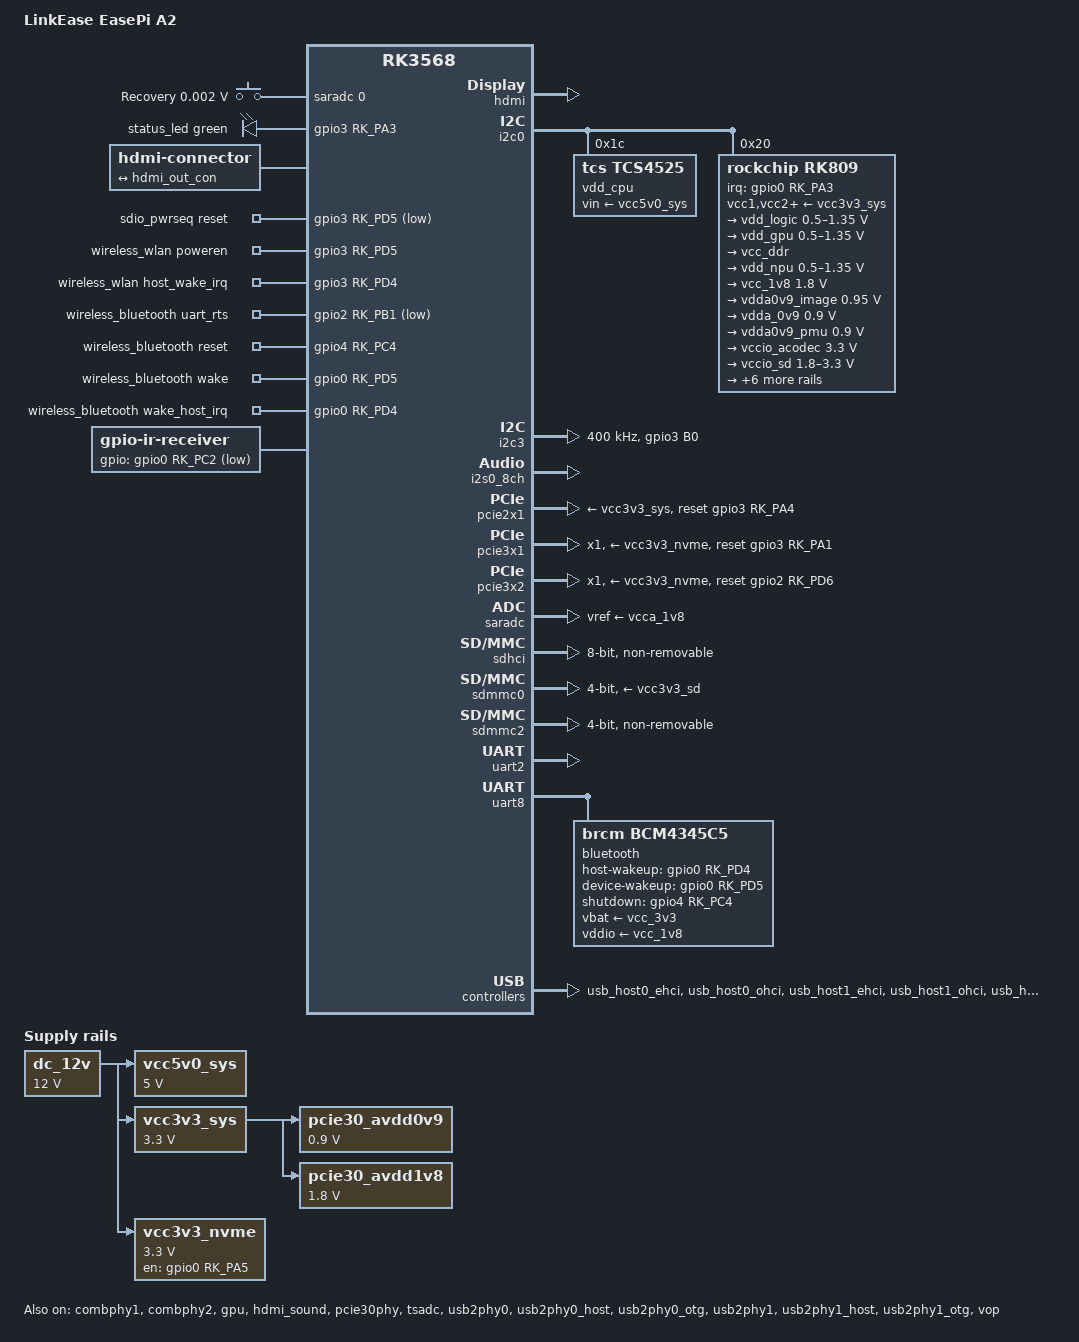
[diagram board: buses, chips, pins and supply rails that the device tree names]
// SPDX-License-Identifier: GPL-2.0-or-later OR MIT

/dts-v1/;

#include <dt-bindings/gpio/gpio.h>
#include <dt-bindings/input/input.h>
#include <dt-bindings/leds/common.h>
#include <dt-bindings/pinctrl/rockchip.h>
#include <dt-bindings/soc/rockchip,vop2.h>
#include "rk3568.dtsi"

/ {
	model = "LinkEase EasePi A2";
	compatible = "linkease,easepi-a2", "rockchip,rk3568";

	aliases {
		ethernet0 = &pcie_eth0;

		mmc0 = &sdmmc0;
		mmc1 = &sdhci;
		mmc2 = &sdmmc2;
	};

	chosen: chosen {
		stdout-path = "serial2:1500000n8";
	};

	adc-keys {
		compatible = "adc-keys";
		io-channels = <&saradc 0>;
		io-channel-names = "buttons";
		keyup-threshold-microvolt = <1800000>;

		button-recovery {
			label = "Recovery";
			linux,code = <KEY_VENDOR>;
			press-threshold-microvolt = <1750>;
		};
	};

	gpio-leds {
		compatible = "gpio-leds";
		pinctrl-names = "default";
		pinctrl-0 = <&status_led_pin>;

		status_led: led-status {
			color = <LED_COLOR_ID_GREEN>;
			function = LED_FUNCTION_STATUS;
			gpios = <&gpio3 RK_PA3 GPIO_ACTIVE_HIGH>;
			linux,default-trigger = "heartbeat";
		};
	};

	hdmi-con {
		compatible = "hdmi-connector";
		type = "a";

		port {
			hdmi_con_in: endpoint {
				remote-endpoint = <&hdmi_out_con>;
			};
		};
	};

	dc_12v: regulator-dc-12v {
		compatible = "regulator-fixed";
		regulator-name = "dc_12v";
		regulator-always-on;
		regulator-boot-on;
		regulator-min-microvolt = <12000000>;
		regulator-max-microvolt = <12000000>;
	};

	vcc5v0_sys: regulator-vcc5v0-sys {
		compatible = "regulator-fixed";
		regulator-name = "vcc5v0_sys";
		regulator-always-on;
		regulator-boot-on;
		regulator-min-microvolt = <5000000>;
		regulator-max-microvolt = <5000000>;
		vin-supply = <&dc_12v>;
	};

	vcc3v3_sys: regulator-vcc3v3-sys {
		compatible = "regulator-fixed";
		regulator-name = "vcc3v3_sys";
		regulator-always-on;
		regulator-boot-on;
		regulator-min-microvolt = <3300000>;
		regulator-max-microvolt = <3300000>;
		vin-supply = <&dc_12v>;
	};

	pcie30_avdd0v9: regulator-pcie30-avdd0v9 {
		compatible = "regulator-fixed";
		regulator-name = "pcie30_avdd0v9";
		regulator-always-on;
		regulator-boot-on;
		regulator-min-microvolt = <900000>;
		regulator-max-microvolt = <900000>;
		vin-supply = <&vcc3v3_sys>;
	};

	pcie30_avdd1v8: regulator-pcie30-avdd1v8 {
		compatible = "regulator-fixed";
		regulator-name = "pcie30_avdd1v8";
		regulator-always-on;
		regulator-boot-on;
		regulator-min-microvolt = <1800000>;
		regulator-max-microvolt = <1800000>;
		vin-supply = <&vcc3v3_sys>;
	};

	sdio_pwrseq: sdio-pwrseq {
		compatible = "mmc-pwrseq-simple";
		clocks = <&rk809 1>;
		clock-names = "ext_clock";
		pinctrl-names = "default";
		pinctrl-0 = <&wifi_enable_h>;

		/*
		* On the module itself this is one of these (depending
		* on the actual card populated):
		* - SDIO_RESET_L_WL_REG_ON
		* - PDN (power down when low)
		*/
		post-power-on-delay-ms = <200>;
		reset-gpios = <&gpio3 RK_PD5 GPIO_ACTIVE_LOW>;
		status = "okay";
	};

	wireless_wlan: wireless-wlan {
		compatible = "wlan-platdata";
		rockchip,grf = <&grf>;
		wifi_chip_type = "ap6255";
		WIFI,poweren_gpio = <&gpio3 RK_PD5 GPIO_ACTIVE_HIGH>;
		status = "okay";
		pinctrl-names = "default";
		pinctrl-0 = <&wifi_host_wake_irq>;
		WIFI,host_wake_irq = <&gpio3 RK_PD4 GPIO_ACTIVE_HIGH>;
	};

	wireless_bluetooth: wireless-bluetooth {
		compatible = "bluetooth-platdata";
		clocks = <&rk809 1>;
		clock-names = "ext_clock";
		//wifi-bt-power-toggle;
		uart_rts_gpios = <&gpio2 RK_PB1 GPIO_ACTIVE_LOW>;
		pinctrl-names = "default", "rts_gpio";
		pinctrl-0 = <&uart8m0_rtsn>;
		pinctrl-1 = <&uart8_gpios>;
		BT,reset_gpio	= <&gpio4 RK_PC4 GPIO_ACTIVE_HIGH>;
		BT,wake_gpio	 = <&gpio0 RK_PD5 GPIO_ACTIVE_HIGH>;
		BT,wake_host_irq = <&gpio0 RK_PD4 GPIO_ACTIVE_HIGH>;
		status = "okay";
	};

	vcc3v3_nvme: regulator-vcc3v3-nvme {
		compatible = "regulator-fixed";
		enable-active-high;
		gpio = <&gpio0 RK_PA5 GPIO_ACTIVE_HIGH>;
		pinctrl-names = "default";
		pinctrl-0 = <&vcc3v3_nvme_en>;
		regulator-name = "vcc3v3_nvme";
		regulator-min-microvolt = <3300000>;
		regulator-max-microvolt = <3300000>;
		vin-supply = <&dc_12v>;
	};

	ir-receiver {
		compatible = "gpio-ir-receiver";
		gpios = <&gpio0 RK_PC2 GPIO_ACTIVE_LOW>;
		pinctrl-names = "default";
		pinctrl-0 = <&ir_receiver_pin>;
	};
};

&combphy1 {
	status = "okay";
};

&combphy2 {
	status = "okay";
};

&cpu0 {
	cpu-supply = <&vdd_cpu>;
};

&cpu1 {
	cpu-supply = <&vdd_cpu>;
};

&cpu2 {
	cpu-supply = <&vdd_cpu>;
};

&cpu3 {
	cpu-supply = <&vdd_cpu>;
};

&gpu {
	mali-supply = <&vdd_gpu>;
	status = "okay";
};

&hdmi {
	avdd-0v9-supply = <&vdda0v9_image>;
	avdd-1v8-supply = <&vcca1v8_image>;
	status = "okay";
};

&hdmi_in {
	hdmi_in_vp0: endpoint {
		remote-endpoint = <&vp0_out_hdmi>;
	};
};

&hdmi_out {
	hdmi_out_con: endpoint {
		remote-endpoint = <&hdmi_con_in>;
	};
};

&hdmi_sound {
	status = "okay";
};

&i2c0 {
	status = "okay";

	vdd_cpu: regulator@1c {
		compatible = "tcs,tcs4525";
		reg = <0x1c>;
		fcs,suspend-voltage-selector = <1>;
		regulator-name = "vdd_cpu";
		regulator-always-on;
		regulator-boot-on;
		regulator-min-microvolt = <800000>;
		regulator-max-microvolt = <1150000>;
		regulator-ramp-delay = <2300>;
		vin-supply = <&vcc5v0_sys>;

		regulator-state-mem {
			regulator-off-in-suspend;
		};
	};

	rk809: pmic@20 {
		compatible = "rockchip,rk809";
		reg = <0x20>;
		interrupt-parent = <&gpio0>;
		interrupts = <RK_PA3 IRQ_TYPE_LEVEL_LOW>;
		#clock-cells = <1>;
		pinctrl-names = "default";
		pinctrl-0 = <&pmic_int>;
		system-power-controller;
		vcc1-supply = <&vcc3v3_sys>;
		vcc2-supply = <&vcc3v3_sys>;
		vcc3-supply = <&vcc3v3_sys>;
		vcc4-supply = <&vcc3v3_sys>;
		vcc5-supply = <&vcc3v3_sys>;
		vcc6-supply = <&vcc3v3_sys>;
		vcc7-supply = <&vcc3v3_sys>;
		vcc8-supply = <&vcc3v3_sys>;
		vcc9-supply = <&vcc3v3_sys>;
		wakeup-source;

		regulators {
			vdd_logic: DCDC_REG1 {
				regulator-name = "vdd_logic";
				regulator-always-on;
				regulator-boot-on;
				regulator-initial-mode = <0x2>;
				regulator-min-microvolt = <500000>;
				regulator-max-microvolt = <1350000>;
				regulator-ramp-delay = <6001>;

				regulator-state-mem {
					regulator-off-in-suspend;
				};
			};

			vdd_gpu: DCDC_REG2 {
				regulator-name = "vdd_gpu";
				regulator-always-on;
				regulator-initial-mode = <0x2>;
				regulator-min-microvolt = <500000>;
				regulator-max-microvolt = <1350000>;
				regulator-ramp-delay = <6001>;

				regulator-state-mem {
					regulator-off-in-suspend;
				};
			};

			vcc_ddr: DCDC_REG3 {
				regulator-name = "vcc_ddr";
				regulator-always-on;
				regulator-boot-on;
				regulator-initial-mode = <0x2>;

				regulator-state-mem {
					regulator-on-in-suspend;
				};
			};

			vdd_npu: DCDC_REG4 {
				regulator-name = "vdd_npu";
				regulator-initial-mode = <0x2>;
				regulator-min-microvolt = <500000>;
				regulator-max-microvolt = <1350000>;
				regulator-ramp-delay = <6001>;

				regulator-state-mem {
					regulator-off-in-suspend;
				};
			};

			vcc_1v8: DCDC_REG5 {
				regulator-name = "vcc_1v8";
				regulator-always-on;
				regulator-boot-on;
				regulator-min-microvolt = <1800000>;
				regulator-max-microvolt = <1800000>;

				regulator-state-mem {
					regulator-off-in-suspend;
				};
			};

			vdda0v9_image: LDO_REG1 {
				regulator-name = "vdda0v9_image";
				regulator-min-microvolt = <950000>;
				regulator-max-microvolt = <950000>;

				regulator-state-mem {
					regulator-off-in-suspend;
				};
			};

			vdda_0v9: LDO_REG2 {
				regulator-name = "vdda_0v9";
				regulator-always-on;
				regulator-boot-on;
				regulator-min-microvolt = <900000>;
				regulator-max-microvolt = <900000>;

				regulator-state-mem {
					regulator-off-in-suspend;
				};
			};

			vdda0v9_pmu: LDO_REG3 {
				regulator-name = "vdda0v9_pmu";
				regulator-always-on;
				regulator-boot-on;
				regulator-min-microvolt = <900000>;
				regulator-max-microvolt = <900000>;

				regulator-state-mem {
					regulator-on-in-suspend;
					regulator-suspend-microvolt = <900000>;
				};
			};

			vccio_acodec: LDO_REG4 {
				regulator-name = "vccio_acodec";
				regulator-min-microvolt = <3300000>;
				regulator-max-microvolt = <3300000>;

				regulator-state-mem {
					regulator-off-in-suspend;
				};
			};

			vccio_sd: LDO_REG5 {
				regulator-name = "vccio_sd";
				regulator-min-microvolt = <1800000>;
				regulator-max-microvolt = <3300000>;

				regulator-state-mem {
					regulator-off-in-suspend;
				};
			};

			vcc3v3_pmu: LDO_REG6 {
				regulator-name = "vcc3v3_pmu";
				regulator-always-on;
				regulator-boot-on;
				regulator-min-microvolt = <3300000>;
				regulator-max-microvolt = <3300000>;

				regulator-state-mem {
					regulator-on-in-suspend;
					regulator-suspend-microvolt = <3300000>;
				};
			};

			vcca_1v8: LDO_REG7 {
				regulator-name = "vcca_1v8";
				regulator-always-on;
				regulator-boot-on;
				regulator-min-microvolt = <1800000>;
				regulator-max-microvolt = <1800000>;

				regulator-state-mem {
					regulator-off-in-suspend;
				};
			};

			vcca1v8_pmu: LDO_REG8 {
				regulator-name = "vcca1v8_pmu";
				regulator-always-on;
				regulator-boot-on;
				regulator-min-microvolt = <1800000>;
				regulator-max-microvolt = <1800000>;

				regulator-state-mem {
					regulator-on-in-suspend;
					regulator-suspend-microvolt = <1800000>;
				};
			};

			vcca1v8_image: LDO_REG9 {
				regulator-name = "vcca1v8_image";
				regulator-min-microvolt = <1800000>;
				regulator-max-microvolt = <1800000>;

				regulator-state-mem {
					regulator-off-in-suspend;
				};
			};

			vcc_3v3: SWITCH_REG1 {
				regulator-name = "vcc_3v3";
				regulator-always-on;
				regulator-boot-on;

				regulator-state-mem {
					regulator-off-in-suspend;
				};
			};

			vcc3v3_sd: SWITCH_REG2 {
				regulator-name = "vcc3v3_sd";
				regulator-always-on;
				regulator-boot-on;

				regulator-state-mem {
					regulator-off-in-suspend;
				};
			};
		};
	};
};

&i2c3 {
	pinctrl-0 = <&i2c3m1_xfer &oled_en>;

	i2c-scl-rising-time-ns = <160>;
	i2c-scl-falling-time-ns = <30>;
	clock-frequency = <400000>;

	status = "okay";
};

&i2s0_8ch {
	status = "okay";
};

&pcie2x1 {
	reset-gpios = <&gpio3 RK_PA4 GPIO_ACTIVE_HIGH>;
	vpcie3v3-supply = <&vcc3v3_sys>;
	status = "okay";
};

&pcie30phy {
	data-lanes = <1 2>;
	status = "okay";
};

&pcie3x1 {
	num-lanes = <1>;
	reset-gpios = <&gpio3 RK_PA1 GPIO_ACTIVE_HIGH>;
	vpcie3v3-supply = <&vcc3v3_nvme>;
	status = "okay";
};

&pcie3x2 {
	num-lanes = <1>;
	reset-gpios = <&gpio2 RK_PD6 GPIO_ACTIVE_HIGH>;
	vpcie3v3-supply = <&vcc3v3_nvme>;
	status = "okay";
};

&pinctrl {
	bluetooth {
		bt_shutdown_gpio: bt-shutdown-gpio {
			rockchip,pins = <4 RK_PC4 RK_FUNC_GPIO &pcfg_pull_none>;
		};
		bt_host_wake_gpio: bt-host-wake-gpio {
			rockchip,pins = <0 RK_PD4 RK_FUNC_GPIO &pcfg_pull_down>;
		};
		bt_device_wake_gpio: bt-device-wake-gpio {
			rockchip,pins = <0 RK_PD5 RK_FUNC_GPIO &pcfg_pull_none>;
		};
	};
	ir-receiver {
		ir_receiver_pin: ir-receiver-pin {
			rockchip,pins = <0 RK_PC2 RK_FUNC_GPIO &pcfg_pull_none>;
		};
	};

	gmac0 {
		eth_phy0_reset_pin: eth-phy0-reset-pin {
			rockchip,pins = <2 RK_PD3 RK_FUNC_GPIO &pcfg_pull_up>;
		};
	};

	gmac1 {
		eth_phy1_reset_pin: eth-phy1-reset-pin {
			rockchip,pins = <2 RK_PD1 RK_FUNC_GPIO &pcfg_pull_up>;
		};
	};

	gpio-leds {
		status_led_pin: status-led-pin {
			rockchip,pins = <3 RK_PA3 RK_FUNC_GPIO &pcfg_pull_none>;
		};
	};

	nvme {
		vcc3v3_nvme_en: vcc3v3-nvme-en {
			rockchip,pins = <0 RK_PA5 RK_FUNC_GPIO &pcfg_pull_none>;
		};
	};

	oled {
		oled_en: oled-en {
			rockchip,pins = <3 RK_PB0 RK_FUNC_GPIO &pcfg_output_high>;
		};
	};

	pmic {
		pmic_int: pmic-int {
			rockchip,pins = <0 RK_PA3 RK_FUNC_GPIO &pcfg_pull_up>;
		};
	};

	sdio-pwrseq {
		wifi_enable_h: wifi-enable-h {
			rockchip,pins = <3 RK_PD5 RK_FUNC_GPIO &pcfg_pull_none>;
		};
	};
	wireless-bluetooth {
		uart8_gpios: uart8-gpios {
			rockchip,pins = <2 RK_PB1 RK_FUNC_GPIO &pcfg_pull_none>;
		};
	};
	wireless-wlan {
		wifi_host_wake_irq: wifi-host-wake-irq {
			rockchip,pins = <3 RK_PD4 RK_FUNC_GPIO &pcfg_pull_down>;
		};
	};
};

&pmu_io_domains {
	pmuio1-supply = <&vcc3v3_pmu>;
	pmuio2-supply = <&vcc3v3_pmu>;
	vccio1-supply = <&vccio_acodec>;
	vccio3-supply = <&vccio_sd>;
	vccio4-supply = <&vcc_1v8>;
	vccio5-supply = <&vcc_3v3>;
	vccio6-supply = <&vcc_1v8>;
	vccio7-supply = <&vcc_3v3>;
	status = "okay";
};

&saradc {
	vref-supply = <&vcca_1v8>;
	status = "okay";
};

&sdhci {
	bus-width = <8>;
	max-frequency = <200000000>;
	non-removable;
	pinctrl-names = "default";
	pinctrl-0 = <&emmc_bus8 &emmc_clk &emmc_cmd &emmc_datastrobe>;
	status = "okay";
};

&sdmmc0 {
	max-frequency = <150000000>;
	no-sdio;
	no-mmc;
	bus-width = <4>;
	cap-mmc-highspeed;
	cap-sd-highspeed;
	disable-wp;
	vmmc-supply = <&vcc3v3_sd>;
	vqmmc-supply = <&vccio_sd>;
	pinctrl-names = "default";
	pinctrl-0 = <&sdmmc0_bus4 &sdmmc0_clk &sdmmc0_cmd &sdmmc0_det>;
	status = "okay";
};

&sdmmc2 {
	max-frequency = <150000000>;
	supports-sdio;
	bus-width = <4>;
	disable-wp;
	cap-sd-highspeed;
	cap-sdio-irq;
	keep-power-in-suspend;
	mmc-pwrseq = <&sdio_pwrseq>;
	non-removable;
	pinctrl-names = "default";
	pinctrl-0 = <&sdmmc2m0_bus4 &sdmmc2m0_cmd &sdmmc2m0_clk>;
	sd-uhs-sdr104;
	status = "okay";
};

&tsadc {
	rockchip,hw-tshut-mode = <1>;
	rockchip,hw-tshut-polarity = <0>;
	status = "okay";
};

&uart2 {
	status = "okay";
};

&uart8 {
	status = "okay";
	pinctrl-0 = <&uart8m0_xfer &uart8m0_ctsn &uart8m0_rtsn>;
	uart-has-rtscts;

	bluetooth {
		compatible = "brcm,bcm4345c5";
		clocks = <&rk809 1>;
		clock-names = "ext_clock";
		host-wakeup-gpios = <&gpio0 RK_PD4 GPIO_ACTIVE_HIGH>;
		device-wakeup-gpios = <&gpio0 RK_PD5 GPIO_ACTIVE_HIGH>;
		shutdown-gpios = <&gpio4 RK_PC4 GPIO_ACTIVE_HIGH>;
		max-speed = <1500000>;
		pinctrl-names = "default";
		pinctrl-0 = <&bt_host_wake_gpio &bt_device_wake_gpio &bt_shutdown_gpio>;
		vbat-supply = <&vcc_3v3>;
		vddio-supply = <&vcc_1v8>;
	};
};

&usb_host0_ehci {
	status = "okay";
};

&usb_host0_ohci {
	status = "okay";
};

&usb_host1_ehci {
	status = "okay";
};

&usb_host1_ohci {
	status = "okay";
};

&usb_host1_xhci {
	status = "okay";
};

&usb2phy0 {
	status = "okay";
};

&usb2phy0_host {
	phy-supply = <&vcc5v0_sys>;
	status = "okay";
};

&usb2phy0_otg {
	vbus-supply = <&vcc5v0_sys>;
	status = "okay";
};

&usb2phy1 {
	status = "okay";
};

&usb2phy1_host {
	phy-supply = <&vcc5v0_sys>;
	status = "okay";
};

&usb2phy1_otg {
	phy-supply = <&vcc5v0_sys>;
	status = "okay";
};

&vop {
	assigned-clocks = <&cru DCLK_VOP0>, <&cru DCLK_VOP1>;
	assigned-clock-parents = <&pmucru PLL_HPLL>, <&cru PLL_VPLL>;
	status = "okay";
};

&vop_mmu {
	status = "okay";
};

&vp0 {
	vp0_out_hdmi: endpoint@ROCKCHIP_VOP2_EP_HDMI0 {
		reg = <ROCKCHIP_VOP2_EP_HDMI0>;
		remote-endpoint = <&hdmi_in_vp0>;
	};
};
